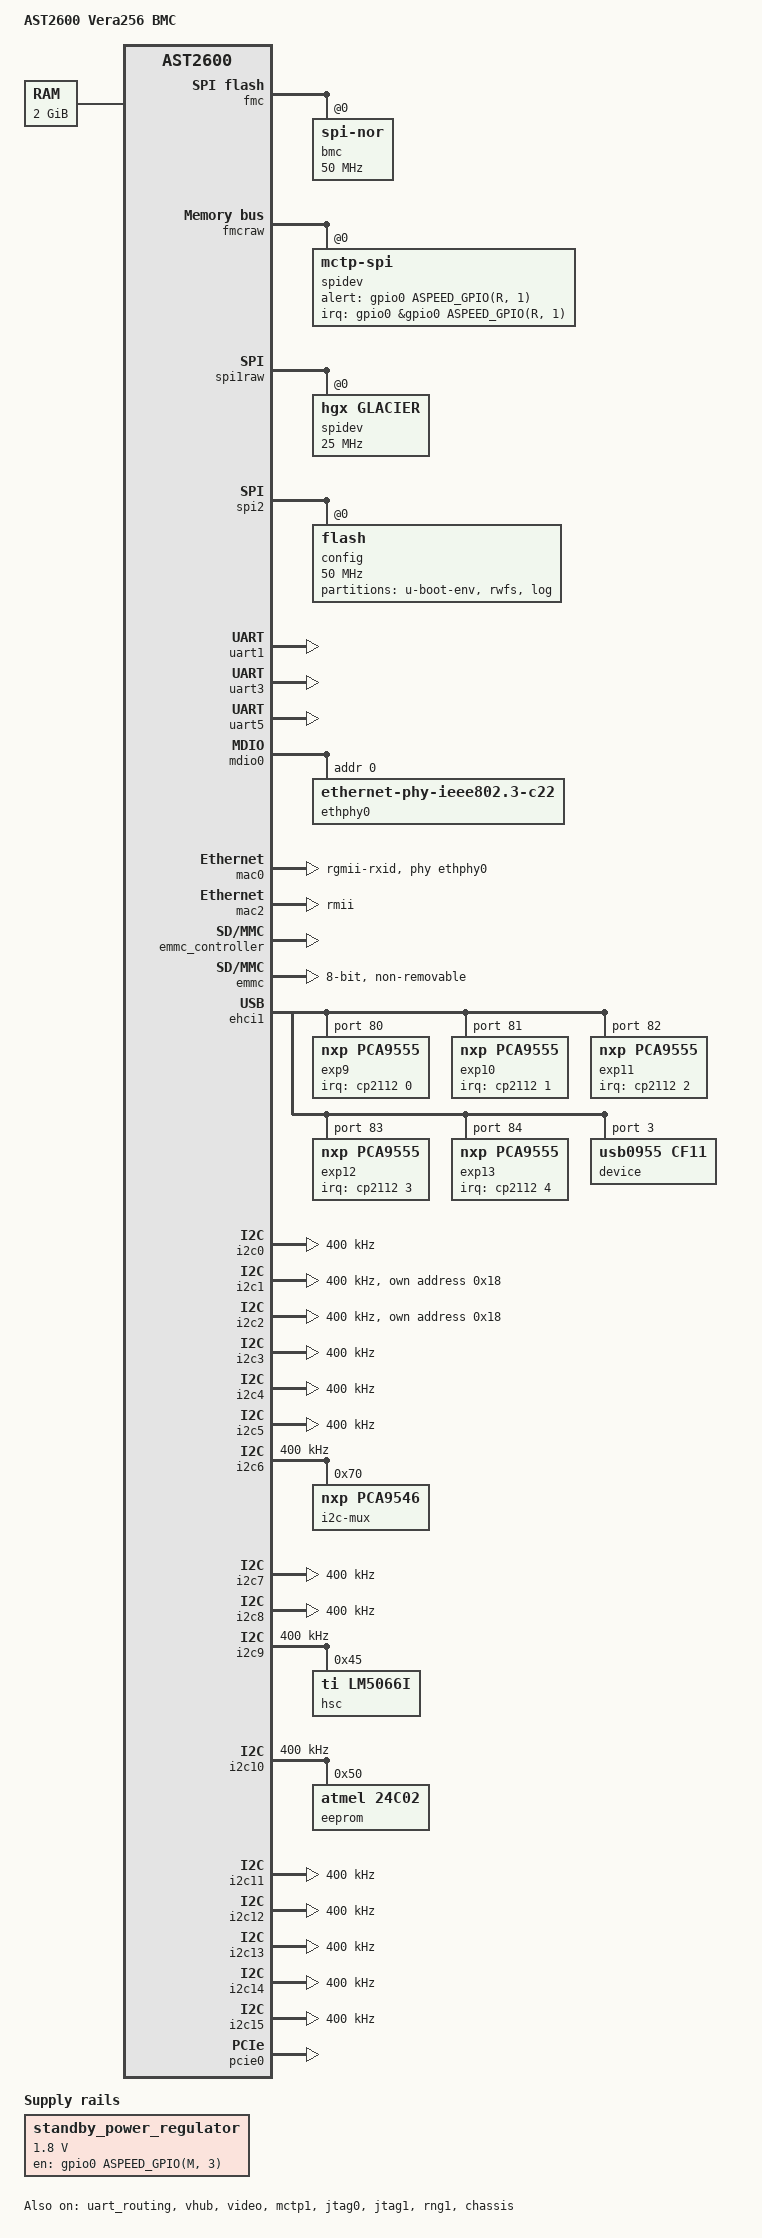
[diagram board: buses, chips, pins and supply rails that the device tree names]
// SPDX-License-Identifier: GPL-2.0+
/dts-v1/;

#include "nvidia-vc-bmc-256-core.dtsi"
#include <dt-bindings/i2c/i2c.h>

/ {
    model = "AST2600 Vera256 BMC";
    compatible = "aspeed,ast2600";

	aliases {
		serial2 = &uart3;
		serial4 = &uart5;
		i2c16	= &i2c_usbhub;
		i2c17	= &i2c_tpm;
		i2c18	= &i2c_dp;
		i2c60	= &e1s_ssd0_i2c;
		i2c61	= &e1s_ssd1_i2c;
		i2c70	= &i2c70;
		i2c72	= &i2c72;
		i2c73	= &i2c73;
	};

	chosen {
		stdout-path = &uart5;
		bootargs = "console=tty0 console=ttyS4,115200n8 earlyprintk";
	};

	memory@80000000 {
		device_type = "memory";
		reg = <0x80000000 0x80000000>;
	};

	reserved-memory {
		#address-cells = <1>;
		#size-cells = <1>;
		ranges;

		vga_memory: framebuffer@9f000000 {
			no-map;
			reg = <0x9f000000 0x01000000>; /* 16M */
		};


		ramoops@a0000000 {
			compatible = "ramoops";
			reg = <0xa0000000 0x100000>; /* 1MB */
			record-size = <0x10000>; /* 64KB */
			max-reason = <2>; /* KMSG_DUMP_OOPS */
		};

		gfx_memory: framebuffer {
			size = <0x01000000>;
			alignment = <0x01000000>;
			compatible = "shared-dma-pool";
			reusable;
		};

		video_engine_memory: jpegbuffer {
			size = <0x02000000>;	/* 32M */
			alignment = <0x01000000>;
			compatible = "shared-dma-pool";
			reusable;
		};
	};

    power-gpios{
        n2-gpios = <&gpio0 ASPEED_GPIO(N, 2) (GPIO_ACTIVE_HIGH|GPIO_PULL_UP)>;
        n3-gpios = <&gpio0 ASPEED_GPIO(N, 3) (GPIO_ACTIVE_HIGH|GPIO_PULL_UP)>;
    };

    standby_power_regulator: standby-power-regulator {
		status = "okay";
		compatible = "regulator-fixed";
		regulator-name = "standby_power";
		gpio = <&gpio0 ASPEED_GPIO(M, 3) GPIO_ACTIVE_HIGH>;
		regulator-min-microvolt = <1800000>;
		regulator-max-microvolt = <1800000>;
		enable-active-high;
		regulator-always-on;
		regulator-boot-on;
	};
};

// Enabled Primary flash on FMC for bring up activity
&fmc {
    status = "okay";
    flash@0 {
        status = "okay";
        compatible = "jedec,spi-nor";
        label = "bmc";
        spi-max-frequency = <50000000>;
#include "aspeed-bmc-nvidia-gh-flash-layout-64.dtsi"
    };
};

&fmcraw {
    status = "okay";
    spidev@0 {
        compatible = "mctp-spi";
        alert-gpio = <&gpio0 ASPEED_GPIO(R, 1) GPIO_ACTIVE_HIGH>;
        interrupt-parent = <&gpio0>;
        interrupts = <&gpio0 ASPEED_GPIO(R, 1) GPIO_ACTIVE_HIGH>;
        status = "okay";
    };
};

&spi1raw {
    status = "okay";
    pinctrl-names = "default";
    pinctrl-0 = <&pinctrl_spi1_default>;
    spidev@0 {
        spi-max-frequency = <25000000>;
        compatible = "hgx,glacier";
        status = "okay";
    };
};

&spi2 {
    status = "okay";
    pinctrl-names = "default";
    pinctrl-0 = <&pinctrl_spi2_default>;

    // Data SPI is 64MB in size
    flash@0 {
        status = "okay";
        label = "config";
        spi-max-frequency = <50000000>;
        partitions {
            compatible = "fixed-partitions";
            #address-cells = <1>;
            #size-cells = <1>;

            u-boot-env@0 {
                reg = <0x0 0x40000>;            // 256KB at offset 0
                label = "u-boot-env";
            };

            rwfs@40000 {
                reg = <0x40000 0x1000000>;      // 16MB at offset 0x40000
                label = "rwfs";
            };

            log@0x1040000 {
                reg = <0x1040000 0x2800000>;    // 40MB at offset 0x1040000
                label = "log";                  // Move log to EMMC, make this unused
            };
        };
    };
};

&uart1 {
        status = "okay";
};

&uart3 {
        //Enabling SOL
        status = "okay";

};

&uart5 {
    // BMC Debug Console
    status = "okay";
};

&uart_routing {
       status = "okay";
};

// MAC1 (per schematics, 1-based MAC1-MAC4) of AST2600 connected to external PHY
// This is "mac0" in zero-based DTS
&mdio0 {
    status = "okay";
    ethphy0: ethernet-phy@0 {
        compatible = "ethernet-phy-ieee802.3-c22";
        reg = <0>;
    };

};

&mac0 {
    status = "okay";
    pinctrl-names = "default";
    phy-mode = "rgmii-rxid";
    max-speed = <1000>;
    phy-handle = <&ethphy0>;
    pinctrl-0 = <&pinctrl_rgmii1_default>;
};

&mac2 {
    status = "okay";
    phy-mode = "rmii";
    use-ncsi;
    pinctrl-names = "default";
    pinctrl-0 = <&pinctrl_rmii3_default>;
};


// Enable emmc
&emmc_controller {
    status = "okay";
};

&emmc {
    non-removable;
    pinctrl-0 = <&pinctrl_emmcg9_default>;
    bus-width = <8>;
    max-frequency = <200000000>;
    clk-phase-mmc-hs200 = <9>, <225>;
};

/*
 * Enable USB port A as device (via the virtual hub) to host
 */
&vhub {
    status = "okay";
    pinctrl-names = "default";
    /*
        Uncomment below line to enable internal EHCI controller
        Current config uses xHCI Port1
    */
    // pinctrl-0 = <&pinctrl_usb2adp_default>;
};

&video {
	status = "okay";
	memory-region = <&video_engine_memory>;
};

/*
 * Enable USB port B as host to downstream USB hubs
 */
&ehci1 {
    status = "okay";

    hub@1 {
        reg = <1>;

        // BF4 physical CP2112
        hub@1 {
            reg = <1>;
            hub@4 {
                reg = <4>;
                device@1 {
                    reg = <1>;
                    interface@1 {
                        reg = <1 1>;
                        i2c73: bf4_sma_i2c: i2c {
                            #address-cells = <1>;
                            #size-cells = <0>;
                        };
                    };
                };

                bf4_cp2112: device@2 {
                    reg = <2>;
                    gpio-controller;
                    #gpio-cells = <2>;
                    interrupt-controller;
                    #interrupt-cells = <2>;

                    gpio-line-names =
                        "BF4_USB_MCU_RECOVERY_L",
                        "BF4_USB_MCU_RST_L",
                        "BF4_USB_FORCE_FNP_L",
                        "BF4_GLOBAL_WP",
                        "BF4_FORCE_POR_L",
                        "BF4_BMC_EROT_RST_L",
                        "BF4_BMC_EROT_RECOVERY_L",
                        "BF4_THERM_SHUTDOWN";

                    i2c72: bf4_i2c: i2c {
                        #address-cells = <1>;
                        #size-cells = <0>;
                    };
                };
            };
        };

        // HPM MCU virtual CP2112 and LSTP
        hub@2 {
            reg = <2>;
            device@4 {
                reg = <4>;
                cp2112: interface@1 {
                    reg = <1 1>;

                    gpio-controller;
                    interrupt-controller;
                    #gpio-cells = <2>;
                    #interrupt-cells = <2>;

                    i2c70: i2c {
                        #address-cells = <1>;
                        #size-cells = <0>;

                        exp9: pca9555@50 {
                            compatible = "nxp,pca9555";
                            reg = <0x50>;
                            gpio-controller;
                            #gpio-cells = <2>;

                            #address-cells = <1>;
                            #size-cells = <0>;
                            interrupt-controller;
                            #interrupt-cells = <2>;
                            interrupt-parent = <&cp2112>;
                            interrupts = <0 IRQ_TYPE_LEVEL_LOW>;

                            gpio-line-names =
                                "CPU0_IROT_RECOVERY_L_3V3-I",
                                "CPU0_IROT_FATAL_ERR_L_3V3-I",
                                "CPU0_OVERT_L-I",
                                "C0_THERM_WARN_N-I",
                                "C0_S0_THERM_OVERT_N-I",
                                "CPU0_CHIPTHROT_L-I",
                                "C0_SOCAMM_0_ID_PRSNT_N_1V8-I",
                                "C0_SOCAMM_1_ID_PRSNT_N-I",
                                "C0_SOCAMM_2_ID_PRSNT_N-I",
                                "C0_SOCAMM_3_ID_PRSNT_N-I",
                                "C0_SOCAMM_4_ID_PRSNT_N-I",
                                "C0_SOCAMM_5_ID_PRSNT_N-I",
                                "C0_SOCAMM_6_ID_PRSNT_N-I",
                                "C0_SOCAMM_7_ID_PRSNT_N-I",
                                "MCU_JTAG_BYPASS_CPU0_S-O",
                                "MCU_JTAG_BYPASS_CPU0-O";
                        };
                        exp10: pca9555@51 {
                            compatible = "nxp,pca9555";
                            reg = <0x51>;
                            gpio-controller;
                            #gpio-cells = <2>;

                            #address-cells = <1>;
                            #size-cells = <0>;
                            interrupt-controller;
                            #interrupt-cells = <2>;
                            interrupt-parent = <&cp2112>;
                            interrupts = <1 IRQ_TYPE_LEVEL_LOW>;

                            gpio-line-names =
                                "CPU1_IROT_RECOVERY_L_3V3-I",
                                "CPU1_IROT_FATAL_ERR_L_3V3-I",
                                "CPU1_OVERT_L-I",
                                "C1_THERM_WARN_N-I",
                                "C1_S0_THERM_OVERT_N-I",
                                "CPU1_CHIPTHROT_L-I",
                                "C1_SOCAMM_0_ID_PRSNT_N-I",
                                "C1_SOCAMM_1_ID_PRSNT_N-I",
                                "C1_SOCAMM_2_ID_PRSNT_N-I",
                                "C1_SOCAMM_3_ID_PRSNT_N-I",
                                "C1_SOCAMM_4_ID_PRSNT_N-I",
                                "C1_SOCAMM_5_ID_PRSNT_N-I",
                                "C1_SOCAMM_6_ID_PRSNT_N-I",
                                "C1_SOCAMM_7_ID_PRSNT_N-I",
                                "MCU_JTAG_BYPASS_CPU1_S-O",
                                "MCU_JTAG_BYPASS_CPU1-O";
                        };
                        exp11: pca9555@52 {
                            compatible = "nxp,pca9555";
                            reg = <0x52>;
                            gpio-controller;
                            #gpio-cells = <2>;

                            #address-cells = <1>;
                            #size-cells = <0>;
                            interrupt-controller;
                            #interrupt-cells = <2>;
                            interrupt-parent = <&cp2112>;
                            interrupts = <2 IRQ_TYPE_LEVEL_LOW>;

                            gpio-line-names =
                                "COMBINED_CPU_CEM_WAKE_L-I",
                                "MCU_THERM_OVERT_N-I",
                                "MCU_THERM_WARN_N-I",
                                "PCB_T_SENSOR_ALERT_L-I",
                                "GLOBAL_WP_1V8-I",
                                "NVBUF_LOS_L-I",
                                "LEAK_DETECT_L-I",
                                "vLeakDetect1Status0-I",
                                "vLeakDetect1Status1-I",
                                "vLeakDetect2Status0-I",
                                "vLeakDetect2Status1-I",
                                "BMC_IOX_INT_L-I",
                                "MCU_BMC_ALERT_L-I",
                                "MCU_HMC_ALERT_L-I",
                                "MCU_USER_STRAP-I",
                                "HPM_MCU_OK-I";
                        };
                        exp12: pca9555@53 {
                            compatible = "nxp,pca9555";
                            reg = <0x53>;
                            gpio-controller;
                            #gpio-cells = <2>;

                            #address-cells = <1>;
                            #size-cells = <0>;
                            interrupt-controller;
                            #interrupt-cells = <2>;
                            interrupt-parent = <&cp2112>;
                            interrupts = <3 IRQ_TYPE_LEVEL_LOW>;

                            gpio-line-names =
                                "CPLD_RESET_L-I",
                                "CPLD_PSEQ_FAULT-I",
                                "CPLD_READY-I",
                                "CPLD_PROGRAM-I",
                                "INPUT_12V_VALID_VMON_PG-I",
                                "RUN_PWR_EN_1V8-I",
                                "MODULE_PWR_GOOD_1V8-I",
                                "MCU_I2C_RTC_ALERT_L-I",
                                "SLOT_PWR_BRAKE_EN_L-I",
                                "OOB_MUX_CTRL0-O",
                                "OOB_MUX_CTRL1-O",
                                "OOB_MUX_CTRL2-O",
                                "CPU_OOB_CS0_L-O",
                                "CPU_OOB_CS1_L-O",
                                "LEAK_SELF_TEST_L_1V8-I",
                                "MCU_RECOVERY_L-I";
                        };
                        exp13: pca9555@54 {
                            compatible = "nxp,pca9555";
                            reg = <0x54>;
                            gpio-controller;
                            #gpio-cells = <2>;

                            #address-cells = <1>;
                            #size-cells = <0>;
                            interrupt-controller;
                            #interrupt-cells = <2>;
                            interrupt-parent = <&cp2112>;
                            interrupts = <4 IRQ_TYPE_LEVEL_LOW>;

                            gpio-line-names =
                                "JTAG_SEL_MCU-O",
                                "JTAG_TCK_MCU-O",
                                "JTAG_TMS_MCU-O",
                                "JTAG_TDO_MCU-I",
                                "JTAG_TDI_MCU-O",
                                "JTAG_TRST_L_MCU-O",
                                "CPU0_SSIF_ALERT_L_3V3-I",
                                "CPU1_SSIF_ALERT_L_1V8-I",
                                "USB_HMC_TO_CPU_FORCE_EN_L-O",
                                "",
                                "",
                                "",
                                "",
                                "",
                                "",
                                "";
                        };
                    };
                };

                lstp_mcu_hpm: interface@2 {
                    reg = <2 1>;
                    #address-cells = <1>;
                    #size-cells = <0>;
                };
            };
        };

        // E1.S MCU (LSTP only; CP2112 enumeration dropped in MCU FW)
        device@3 {
            compatible = "usb0955,cf11";
            reg = <3>;

            lstp_mcu: interface@1 {
                reg = <1 1>;
                #address-cells = <1>;
                #size-cells = <0>;

                e1s_ssd0_i2c: channel@1 {
                    compatible = "nvidia,lstp-i2c";
                    reg = <1>;
                    #address-cells = <1>;
                    #size-cells = <0>;
                };

                e1s_ssd1_i2c: channel@2 {
                    compatible = "nvidia,lstp-i2c";
                    reg = <2>;
                    #address-cells = <1>;
                    #size-cells = <0>;
                };
            };
        };
    };
};

// I2C1, SSIF IPMI interface
/*
 * SSIF is handled by the MCU LSTP path, not by the ASPEED I2C
 * controller acting as a direct SMBus slave. Remove this legacy
 * direct SSIF setup after bringup is complete.
 */
&i2c0 {
    status = "okay";
    clock-frequency = <400000>;
    disable-master = <1>;
    i2c-scl-clk-low-timeout-us = <128000>;
    i2c-tck-thddat-config = <0x0099EC00>;
    tout-baseclk-div = <4096>;

    ssif-bmc@10 {
        compatible = "ssif-bmc";
        status = "disabled";
        alert-gpio = <&gpio1 ASPEED_GPIO(D, 7) GPIO_ACTIVE_LOW>;
        pulse_width_us = <5>;
        timeout_ms = <4995>;
        reg = <0x10>;
    };
};

// I2C2
// MGMT1 to E1.S MCU
// IOEXP (8-pin) x1
// E1.S MCU FRU EEPROM
// E1.S MCU Temp Sensor
&i2c1 {
    status = "okay";
    clock-frequency = <400000>;
    i2c-scl-clk-low-timeout-us = <32000>;
    i2c-tck-thddat-config = <0x0099EC00>;
    multi-master;
    mctp-controller;
    // MCTP for E1.S MCU
    mctp@18 {
        compatible = "mctp-i2c-controller";
        reg = <(0x18 | I2C_OWN_SLAVE_ADDRESS)>;
    };
};

// I2C3
// MGMT0 to HPM MCU
// IOEXP (16-pin) x3
// HPM FRU EEPROM
&i2c2 {
    status = "okay";
    clock-frequency = <400000>;
    i2c-scl-clk-low-timeout-us = <32000>;
    i2c-tck-thddat-config = <0x0099EC00>;
    multi-master;
    mctp-controller;
    // MCTP for HPM MCU
    mctp@18 {
        compatible = "mctp-i2c-controller";
        reg = <(0x18 | I2C_OWN_SLAVE_ADDRESS)>;
    };
};

// I2C4
&i2c3 {
    status = "okay";
    clock-frequency = <400000>;
};

// I2C5
&i2c4 {
    status = "okay";
    clock-frequency = <400000>;
};

// I2C6
// RTC
// IOEXP (16-pin) x2
// SMM FRU EEPROM
// SMM Temp Sensor
&i2c5 {
    status = "okay";
    clock-frequency = <400000>;
    i2c-scl-clk-low-timeout-us = <32000>;
    i2c-tck-thddat-config = <0x0099EC00>;
};

// I2C7
// Module Leak Sensors
// TPM
// IOEXP (8-pin) x1
&i2c6 {
    status = "okay";
    clock-frequency = <400000>;
    i2c-tck-thddat-config = <0x0099EC00>;

    i2c-mux@70 {
        compatible = "nxp,pca9546";
        #address-cells = <1>;
        #size-cells = <0>;
        reg = <0x70>;
        i2c-mux-idle-disconnect;

        i2c_usbhub: i2c@0 {
            #address-cells = <1>;
            #size-cells = <0>;
            reg = <0>;
        };

        i2c_tpm: i2c@1 {
            #address-cells = <1>;
            #size-cells = <0>;
            reg = <1>;
        };

        i2c_dp: i2c@2 {
            #address-cells = <1>;
            #size-cells = <0>;
            reg = <2>;
        };
    };
};

// I2C8
&i2c7 {
    status = "okay";
    clock-frequency = <400000>;
};

// I2C9
&i2c8 {
    status = "okay";
    clock-frequency = <400000>;
};

// I2C10
// Hotswap Controller
&i2c9 {
    status = "okay";
    clock-frequency = <400000>;
    i2c-tck-thddat-config = <0x0099EC00>;

    hsc@45 {
        compatible = "ti,lm5066i";
        reg = <0x45>;
    };
};

// I2C11
// BMC FRU EEPROM
// BMC Temp Sensor
&i2c10 {
    status = "okay";
    clock-frequency = <400000>;
    i2c-tck-thddat-config = <0x0099EC00>;
    // BMC FRU EEPROM - 256 bytes
    eeprom@50 {
        compatible = "atmel,24c02";
        reg = <0x50>;
        pagesize = <8>;
    };
};

// I2C12
&i2c11 {
    status = "okay";
    clock-frequency = <400000>;
};

// I2C13
&i2c12 {
    status = "okay";
    clock-frequency = <400000>;
};

// I2C14
&i2c13 {
    status = "okay";
    clock-frequency = <400000>;
};

// I2C15
&i2c14 {
    status = "okay";
    clock-frequency = <400000>;
};

// I2C16
&i2c15 {
    status = "okay";
    clock-frequency = <400000>;
};

// PCIe RC
&pcie0 {
    status = "okay";

    interrupts = <GIC_SPI 168 IRQ_TYPE_LEVEL_HIGH>;
};

&mctp1 {
    status = "okay";
};

&jtag0 {
    status = "okay";
};

&jtag1 {
    status = "okay";
};

&rng1 {
    status = "okay";
};

&chassis {
	status = "okay";
};
